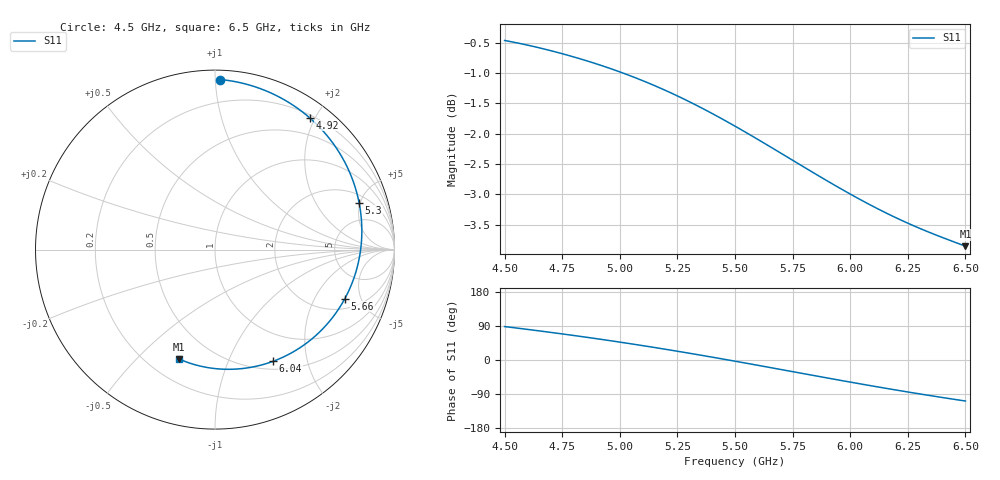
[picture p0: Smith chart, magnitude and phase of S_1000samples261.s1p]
! TOUCHSTONE file generated by CST MICROWAVE STUDIO
! Date and time: Thu Oct 27 13:36:09 2022
! Project name: L.cst
! Parameters = {Di=1.27; Epsilon_r=1.56; InnerDiameter=1.27; Length=2; Lf=10; Lg=60; OuterConductorThickness=0.2921; OuterDiameter=3.6; Wf=3; Wp=41.2; de=1.5; df=6.8; g=0.8; gx=1.19141; gy=3.17276; h=2.34; hf=1.524; px=8.22269; py=9.56884; w=9.7; wx=7.03128; wy=6.39608}
! Header version: 2018
! Port assignment regex: !\s*Touchstone port\s*([0-9]+)\s*=\s*(CST MWS port|CST DS port)\s*([0-9]+|Zmin|Zmax)\s*\(\"(.*)\"\)(\s*mode\s*([0-9]+))?.*
! Touchstone port assignment:
! Touchstone port 1 = CST MWS port 1 ("")
# GHz S DB R 50
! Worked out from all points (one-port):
!   101 points, 4.5 GHz to 6.5 GHz, reference 50 ohm
!   lowest |S11| = -3.9 dB at 6.5 GHz (marker M1), VSWR 4.58, Z = 16.2 - j33.6 ohm
!   |S11| at or under -10 dB: nowhere
!   S11 on the Smith chart (normalised r, x): 4.5 GHz: 0.05, +1.03; 4.92 GHz: 0.24, +1.92; 5.3 GHz: 2.68, +4.88; 5.66 GHz: 2.66, -3.61; 6.04 GHz: 0.60, -1.47; 6.5 GHz: 0.32, -0.67
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4.5  -0.46 88.2
4.58  -0.52 82.2
4.64  -0.58 77.6
4.76  -0.69 68.0
4.84  -0.78 61.3
4.92  -0.88 54.4
5  -0.98 47.2
5.08  -1.10 39.8
5.14  -1.19 34.0
5.2  -1.29 28.1
5.26  -1.40 22.1
5.3  -1.47 18.0
5.4  -1.67 7.6
5.44  -1.75 3.3
5.5  -1.88 -3.1
5.58  -2.05 -11.9
5.66  -2.23 -20.7
5.76  -2.46 -31.8
5.82  -2.60 -38.5
5.88  -2.73 -45.1
5.94  -2.87 -51.7
6  -3.00 -58.3
6.04  -3.08 -62.6
6.14  -3.28 -73.1
6.2  -3.39 -79.3
6.26  -3.49 -85.4
6.38  -3.68 -97.1
6.5  -3.86 -108.2
